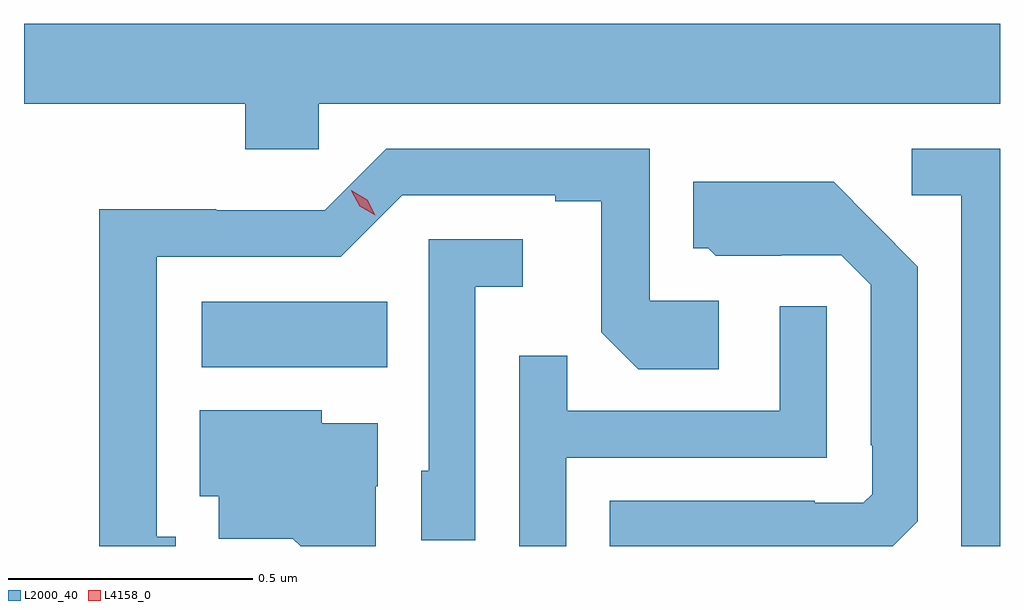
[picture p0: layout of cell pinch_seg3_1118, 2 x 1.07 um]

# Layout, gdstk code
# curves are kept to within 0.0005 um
import gdstk
lib = gdstk.Library(unit=1e-6, precision=1e-09)
def R(c, l, rs):  # rectangles x0, y0, x1, y1
    for r in rs: c.add(gdstk.rectangle(r[:2], r[2:], *l))
def P(c, l, *ps):  # polygons
    for p in ps: c.add(gdstk.Polygon(p, *l))
L2000_40 = (2000, 40)
L4158_0 = (4158, 0)

pinch_seg3_1118 = lib.new_cell('pinch_seg3_1118')
R(pinch_seg3_1118, L2000_40, [(337.842,704.372,338.222,704.506)])
P(pinch_seg3_1118, L2000_40, [(338.082,704.912),(339.478,704.912),(339.478,705.076),(337.478,705.076),(337.478,704.912),(337.931,704.912),(337.931,704.819),(338.082,704.819)],
  [(337.789,704.025),(337.75,704.025),(337.75,704.598),(338.127,704.598),(338.253,704.724),(338.567,704.724),(338.567,704.712),(338.661,704.712),(338.661,704.444),(338.737,704.368),(338.902,704.368),(338.902,704.508),(338.76,704.508),(338.76,704.82),(338.22,704.82),(338.094,704.694),(337.872,704.694),(337.872,704.696),(337.632,704.696),(337.632,704.005),(337.789,704.005)],
  [(339.478,704.82),(339.297,704.82),(339.297,704.724),(339.399,704.724),(339.399,704.005),(339.478,704.005)],
  [(339.309,704.056),(339.309,704.578),(339.137,704.752),(338.849,704.752),(338.849,704.616),(338.88,704.616),(338.896,704.6),(339.03,704.6),(339.03,704.601),(339.153,704.601),(339.213,704.541),(339.213,704.212),(339.216,704.212),(339.216,704.112),(339.198,704.094),(339.098,704.094),(339.098,704.098),(338.678,704.098),(338.678,704.005),(339.258,704.005)],
  [(338.403,704.537),(338.5,704.537),(338.5,704.634),(338.307,704.634),(338.307,704.16),(338.292,704.16),(338.292,704.017),(338.403,704.017)],
  [(338.589,704.187),(339.123,704.187),(339.123,704.497),(339.027,704.497),(339.027,704.283),(338.591,704.283),(338.591,704.396),(338.493,704.396),(338.493,704.005),(338.589,704.005)],
  [(338.199,704.128),(338.203,704.128),(338.203,704.257),(338.088,704.257),(338.088,704.284),(337.838,704.284),(337.838,704.108),(337.877,704.108),(337.877,704.021),(338.029,704.021),(338.045,704.005),(338.199,704.005)])
P(pinch_seg3_1118, L4158_0, [(338.198,704.683),(338.166,704.702),(338.149,704.734),(338.149,704.735),(338.149,704.735),(338.181,704.715),(338.198,704.683),(338.198,704.683)])

lib.write_gds('pinch_seg3_1118.gds')
